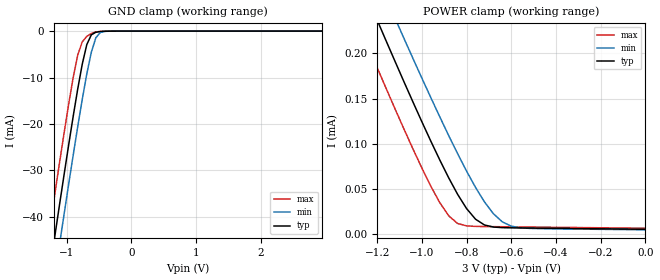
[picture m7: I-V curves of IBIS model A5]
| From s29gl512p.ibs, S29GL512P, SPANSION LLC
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|   Model A5
[Model]  A5
Model_type Input
Vinl =   0.9000V
Vinh =   2.1000V
C_comp   2.0000pF   2.0000pF   2.0000pF
[Temperature Range]   25.0000   85.0000   -40.0000
[Pullup Reference]   3.0000V   2.7000V   3.6000V
[Pulldown Reference]   0.0V   0.0V   0.0V
[POWER Clamp Reference]   3.0000V   2.7000V   3.6000V
[GND Clamp Reference]   0.0V   0.0V   0.0V
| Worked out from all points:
|   GND clamp passes 1 mA (typ) near -0.63 V on its own axis
|   POWER clamp passes 1 mA (typ) near -2.48 V on its own axis
[GND_clamp]
|Voltage   I(typ)   I(min)   I(max)
-3V       -219.8mA   -228.1mA   -211.2mA
-1.32V    -56.9mA    -65.47mA   -47.8mA
-1.25V    -50.29mA   -58.86mA   -41.19mA
-1.18V    -43.72mA   -52.3mA    -34.64mA
-1.11V    -37.21mA   -45.77mA   -28.17mA
-1.04V    -30.78mA   -39.31mA   -21.82mA
-830mV    -12.44mA   -20.54mA   -5.14mA
-690mV    -2.902mA   -9.221mA   -1.141mA
-620mV    -798.9uA   -4.551mA   -504uA
-550mV    -245.4uA   -1.426mA   -180.7uA
-410mV    -32.07uA   -60.5uA    -19.22uA
2.95V     5.571uA    5.787uA    5.15uA
[POWER_clamp]
|Voltage   I(typ)   I(min)   I(max)
-3V       1.316mA    1.341mA    1.27mA
-1.28V    283.2uA    329.3uA    230.8uA
-1.2V     236.9uA    283.9uA    184.3uA
-1.16V    213.9uA    261.3uA    161.4uA
-1.12V    191.2uA    238.9uA    138.7uA
-1.08V    168.6uA    216.6uA    116.4uA
-960mV    103.1uA    151.2uA    53.26uA
-880mV    62.54uA    109.2uA    20.58uA
-760mV    16.85uA    51.99uA    8.889uA
-640mV    7.518uA    13.85uA    8.504uA
-520mV    7.055uA    6.7uA      8.192uA
0V        5.701uA    5.137uA    6.84uA
